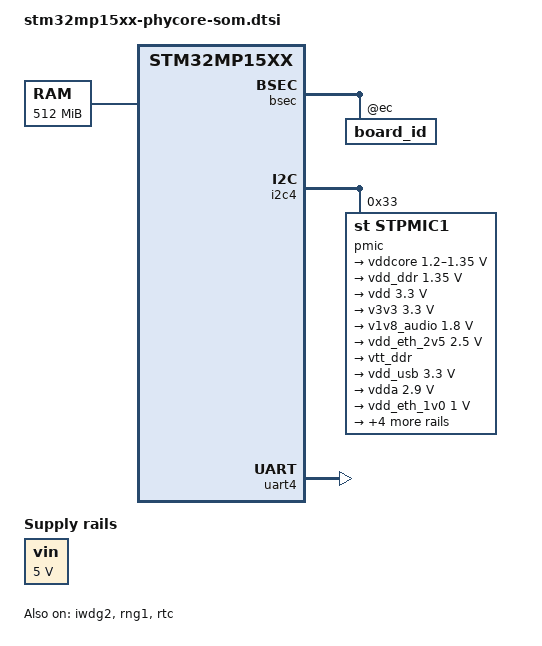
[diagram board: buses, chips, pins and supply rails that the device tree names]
// SPDX-License-Identifier: (GPL-2.0+ OR BSD-3-Clause)
/*
 * Copyright (C) 2020 PHYTEC Messtechnik GmbH
 * Author: Dom Vovard <dom.vovard@linrt.com>
 *	   Christophe Parant <c.parant@phytec.fr>
 */

#include "stm32mp15xx-phycore-som-pinctrl.dtsi"
#include "stm32mp15xxac-pinctrl.dtsi"
#include <dt-bindings/soc/stm32mp15-etzpc.h>

/ {

	aliases {
		serial0 = &uart4;
		serial1 = &usart3;
	};

	chosen {
		stdout-path = "serial0:115200n8";
	};

	memory@c0000000 {
		device_type = "memory";
		reg = <0xc0000000 0x20000000>;
	};

	vin: vin {
		compatible = "regulator-fixed";
		regulator-name = "vin";
		regulator-min-microvolt = <5000000>;
		regulator-max-microvolt = <5000000>;
		regulator-always-on;
	};
};

&etzpc {
	st,decprot = <
		DECPROT(STM32MP1_ETZPC_USART1_ID, DECPROT_NS_RW, DECPROT_UNLOCK)
		DECPROT(STM32MP1_ETZPC_SPI6_ID, DECPROT_NS_RW, DECPROT_UNLOCK)
		DECPROT(STM32MP1_ETZPC_I2C4_ID, DECPROT_NS_RW, DECPROT_UNLOCK)
		DECPROT(STM32MP1_ETZPC_I2C6_ID, DECPROT_NS_RW, DECPROT_UNLOCK)
		DECPROT(STM32MP1_ETZPC_RNG1_ID, DECPROT_S_RW, DECPROT_UNLOCK)
		DECPROT(STM32MP1_ETZPC_HASH1_ID, DECPROT_NS_RW, DECPROT_UNLOCK)
		DECPROT(STM32MP1_ETZPC_CRYP1_ID, DECPROT_NS_RW, DECPROT_UNLOCK)
		DECPROT(STM32MP1_ETZPC_DDRCTRL_ID, DECPROT_NS_R_S_W, DECPROT_LOCK)
		DECPROT(STM32MP1_ETZPC_DDRPHYC_ID, DECPROT_NS_R_S_W, DECPROT_LOCK)
		DECPROT(STM32MP1_ETZPC_STGENC_ID, DECPROT_S_RW, DECPROT_LOCK)
		DECPROT(STM32MP1_ETZPC_BKPSRAM_ID, DECPROT_S_RW, DECPROT_LOCK)
		DECPROT(STM32MP1_ETZPC_IWDG1_ID, DECPROT_S_RW, DECPROT_LOCK)
	>;
};

&bsec {
	board_id: board_id@ec {
		reg = <0xec 0x4>;
		st,non-secure-otp;
	};
};

&clk_hse {
	st,digbypass;
};

&cpu0{
	cpu-supply = <&vddcore>;
};

&cpu1{
	cpu-supply = <&vddcore>;
};

&i2c4 {
	compatible = "st,stm32mp15-i2c-non-secure";
	pinctrl-names = "default";
	pinctrl-0 = <&i2c4_pins_a>;
	i2c-scl-rising-time-ns = <185>;
	i2c-scl-falling-time-ns = <20>;
	status = "okay";

	pmic: stpmic@33 {
		compatible = "st,stpmic1";
		reg = <0x33>;
		interrupt-controller;
		#interrupt-cells = <2>;
		status = "okay";

		regulators {
			compatible = "st,stpmic1-regulators";
			buck1-supply = <&vin>;
			buck2-supply = <&vin>;
			buck3-supply = <&vin>;
			buck4-supply = <&vin>;
			ldo1-supply = <&v3v3>;
			ldo2-supply = <&v3v3>;
			ldo3-supply = <&vdd_ddr>;
			ldo4-supply = <&vin>;
			ldo5-supply = <&v3v3>;
			ldo6-supply = <&v3v3>;
			vref_ddr-supply = <&vin>;
			boost-supply = <&vin>;
			pwr_sw1-supply = <&bst_out>;
			pwr_sw2-supply = <&bst_out>;

			vddcore: buck1 {
				regulator-name = "vddcore";
				regulator-min-microvolt = <1200000>;
				regulator-max-microvolt = <1350000>;
				regulator-always-on;
				regulator-initial-mode = <0>;
				regulator-over-current-protection;
				lp-stop {
					regulator-on-in-suspend;
					regulator-suspend-microvolt = <1200000>;
				};
				standby-ddr-sr {
					regulator-off-in-suspend;
				};
				standby-ddr-off {
					regulator-off-in-suspend;
				};
			};

			vdd_ddr: buck2 {
				regulator-name = "vdd_ddr";
				regulator-min-microvolt = <1350000>;
				regulator-max-microvolt = <1350000>;
				regulator-always-on;
				regulator-initial-mode = <0>;
				regulator-over-current-protection;
				lp-stop {
					regulator-suspend-microvolt = <1350000>;
					regulator-on-in-suspend;
				};
				standby-ddr-sr {
					regulator-suspend-microvolt = <1350000>;
					regulator-on-in-suspend;
				};
				standby-ddr-off {
					regulator-off-in-suspend;
				};
			};

			vdd: buck3 {
				regulator-name = "vdd";
				regulator-min-microvolt = <3300000>;
				regulator-max-microvolt = <3300000>;
				regulator-always-on;
				st,mask-reset;
				regulator-initial-mode = <0>;
				regulator-over-current-protection;
				lp-stop {
					regulator-suspend-microvolt = <3300000>;
					regulator-on-in-suspend;
				};
				standby-ddr-sr {
					regulator-suspend-microvolt = <3300000>;
					regulator-on-in-suspend;
				};
				standby-ddr-off {
					regulator-suspend-microvolt = <3300000>;
					regulator-on-in-suspend;
				};
			};

			v3v3: buck4 {
				regulator-name = "v3v3";
				regulator-min-microvolt = <3300000>;
				regulator-max-microvolt = <3300000>;
				regulator-always-on;
				regulator-over-current-protection;
				regulator-initial-mode = <0>;
				lp-stop {
					regulator-suspend-microvolt = <3300000>;
					regulator-on-in-suspend;
				};
				standby-ddr-sr {
					regulator-off-in-suspend;
				};
				standby-ddr-off {
					regulator-off-in-suspend;
				};
			};

			v1v8_audio: ldo1 {
				regulator-name = "v1v8_audio";
				regulator-min-microvolt = <1800000>;
				regulator-max-microvolt = <1800000>;
				regulator-always-on;
				standby-ddr-sr {
					regulator-off-in-suspend;
				};
				standby-ddr-off {
					regulator-off-in-suspend;
				};
			};

			vdd_eth_2v5: ldo2 {
				regulator-name = "vdd_eth_2v5";
				regulator-min-microvolt = <2500000>;
				regulator-max-microvolt = <2500000>;
				regulator-always-on;
				standby-ddr-sr {
					regulator-off-in-suspend;
				};
				standby-ddr-off {
					regulator-off-in-suspend;
				};
			};

			vtt_ddr: ldo3 {
				regulator-name = "vtt_ddr";
				regulator-always-on;
				regulator-over-current-protection;
				st,regulator-sink-source;
				lp-stop {
					regulator-off-in-suspend;
				};
				standby-ddr-sr {
					regulator-off-in-suspend;
				};
				standby-ddr-off {
					regulator-off-in-suspend;
				};
			};

			vdd_usb: ldo4 {
				regulator-name = "vdd_usb";
				regulator-min-microvolt = <3300000>;
				regulator-max-microvolt = <3300000>;
				standby-ddr-sr {
					regulator-off-in-suspend;
				};
				standby-ddr-off {
					regulator-off-in-suspend;
				};
			};

			vdda: ldo5 {
				regulator-name = "vdda";
				regulator-min-microvolt = <2900000>;
				regulator-max-microvolt = <2900000>;
				regulator-boot-on;
				standby-ddr-sr {
					regulator-off-in-suspend;
				};
				standby-ddr-off {
					regulator-off-in-suspend;
				};
			};

			vdd_eth_1v0: ldo6 {
				regulator-name = "vdd_eth_1v0";
				regulator-min-microvolt = <1000000>;
				regulator-max-microvolt = <1000000>;
				regulator-always-on;
				standby-ddr-sr {
					regulator-off-in-suspend;
				};
				standby-ddr-off {
					regulator-off-in-suspend;
				};
			};

			vref_ddr: vref_ddr {
				regulator-name = "vref_ddr";
				regulator-always-on;
				lp-stop {
					regulator-on-in-suspend;
				};
				standby-ddr-sr {
					regulator-on-in-suspend;
				};
				standby-ddr-off {
					regulator-off-in-suspend;
				};
			};

			bst_out: boost {
				regulator-name = "bst_out";
			};

			vbus_otg: pwr_sw1 {
				regulator-name = "vbus_otg";
			};

			vbus_sw: pwr_sw2 {
				regulator-name = "vbus_sw";
				regulator-active-discharge = <1>;
			};
		};
	};
};

&iwdg2 {
	timeout-sec = <32>;
	status = "okay";
};

&pwr_regulators {
	system_suspend_supported_soc_modes = <
		STM32_PM_CSLEEP_RUN
		STM32_PM_CSTOP_ALLOW_LP_STOP
		STM32_PM_CSTOP_ALLOW_LPLV_STOP
		STM32_PM_CSTOP_ALLOW_STANDBY_DDR_SR
	>;
	system_off_soc_mode = <STM32_PM_CSTOP_ALLOW_STANDBY_DDR_OFF>;
	vdd-supply = <&vdd>;
	vdd_3v3_usbfs-supply = <&vdd_usb>;
};

&rcc {
	st,hsi-cal;
	st,csi-cal;
	st,cal-sec = <60>;
	st,clksrc = <
		CLK_MPU_PLL1P
		CLK_AXI_PLL2P
		CLK_MCU_PLL3P
		CLK_PLL12_HSE
		CLK_PLL3_HSE
		CLK_PLL4_HSE
		CLK_RTC_LSE
		CLK_MCO1_DISABLED
		CLK_MCO2_DISABLED
	>;

	st,clkdiv = <
		1 /*MPU*/
		0 /*AXI*/
		0 /*MCU*/
		1 /*APB1*/
		1 /*APB2*/
		1 /*APB3*/
		1 /*APB4*/
		2 /*APB5*/
		23 /*RTC*/
		0 /*MCO1*/
		0 /*MCO2*/
	>;

	st,pkcs = <
		CLK_CKPER_HSE
		CLK_FMC_ACLK
		CLK_QSPI_ACLK
		CLK_ETH_PLL4P
		CLK_SDMMC12_PLL4P
		CLK_DSI_DSIPLL
		CLK_STGEN_HSE
		CLK_USBPHY_HSE
		CLK_FDCAN_HSE
		CLK_SPI2S1_PLL3Q
		CLK_SPI2S23_PLL3Q
		CLK_SPI45_HSI
		CLK_SPI6_HSI
		CLK_I2C46_HSI
		CLK_SDMMC3_PLL4P
		CLK_USBO_USBPHY
		CLK_ADC_CKPER
		CLK_CEC_LSE
		CLK_I2C12_HSI
		CLK_I2C35_HSI
		CLK_UART1_HSI
		CLK_UART24_HSI
		CLK_UART35_HSI
		CLK_UART6_HSI
		CLK_UART78_HSI
		CLK_SPDIF_PLL4P
		CLK_SAI1_PLL3Q
		CLK_SAI2_PLL3Q
		CLK_SAI3_PLL3Q
		CLK_SAI4_PLL3Q
		CLK_RNG1_LSI
		CLK_RNG2_LSI
		CLK_LPTIM1_PCLK1
		CLK_LPTIM23_PCLK3
		CLK_LPTIM45_LSE
	>;

	/* VCO = 1066.0 MHz => P = 266 (AXI), Q = 533 (GPU), R = 533 (DDR) */
	pll2: st,pll@1 {
		compatible = "st,stm32mp1-pll";
		reg = <1>;
		cfg = <2 65 1 0 0 PQR(1,1,1)>;
		frac = <0x1400>;
	};

	/* VCO = 417.8 MHz => P = 209, Q = 24, R = 11 */
	pll3: st,pll@2 {
		compatible = "st,stm32mp1-pll";
		reg = <2>;
		cfg = <1 33 1 16 36 PQR(1,1,1)>;
		frac = <0x1a04>;
	};

	/* VCO = 750.0 MHz => P=125, Q=62.5, R=62.5 */
	pll4: st,pll@3 {
		compatible = "st,stm32mp1-pll";
		reg = <3>;
		cfg = <3 124 5 11 11 PQR(1,1,1)>;
	};
};

&rng1 {
	status = "okay";
};

&rtc {
	status = "okay";
};

&timers12 {
	st,hsi-cal-input = <1>;
	st,csi-cal-input = <2>;
};

&uart4 {
	pinctrl-names = "default";
	pinctrl-0 = <&uart4_pins_a>;
	status = "okay";
};

&usart3 {
	pinctrl-names = "default";
	pinctrl-0 = <&usart3_pins_a>;
	status = "disabled";
};
